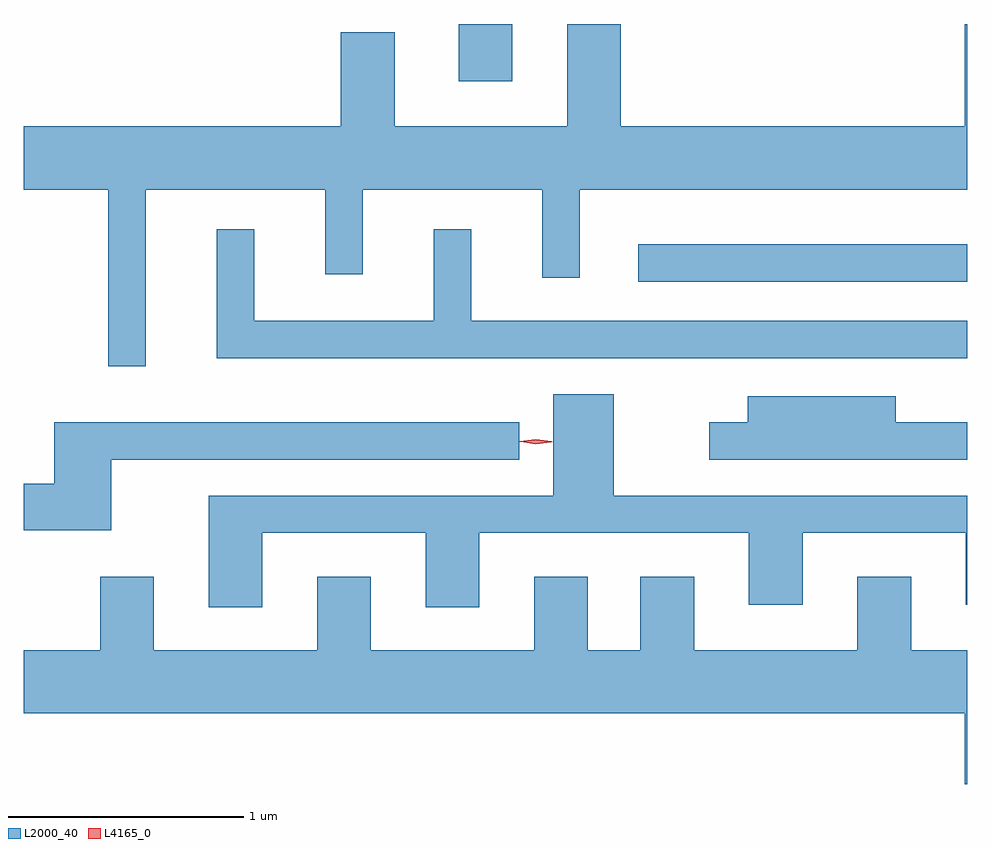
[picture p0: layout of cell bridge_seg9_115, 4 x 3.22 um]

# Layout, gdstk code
import gdstk
lib = gdstk.Library(unit=1e-6, precision=1e-09)
def R(c, l, rs):  # rectangles x0, y0, x1, y1
    for r in rs: c.add(gdstk.rectangle(r[:2], r[2:], *l))
def P(c, l, *ps):  # polygons
    for p in ps: c.add(gdstk.Polygon(p, *l))
L2000_40 = (2000, 40)
L4165_0 = (4165, 0)

bridge_seg9_115 = lib.new_cell('bridge_seg9_115')
R(bridge_seg9_115, L2000_40, [(1712.193,1975.886,1713.587,1976.044), (1711.431,1976.736,1711.659,1976.978)])
P(bridge_seg9_115, L2000_40, [(1710.104,1976.276),(1710.866,1976.276),(1710.866,1975.918),(1711.024,1975.918),(1711.024,1976.276),(1711.786,1976.276),(1711.786,1975.903),(1711.944,1975.903),(1711.944,1976.276),(1713.587,1976.276),(1713.587,1976.978),(1713.576,1976.978),(1713.576,1976.544),(1712.119,1976.544),(1712.119,1976.978),(1711.891,1976.978),(1711.891,1976.544),(1711.159,1976.544),(1711.159,1976.944),(1710.931,1976.944),(1710.931,1976.544),(1709.587,1976.544),(1709.587,1976.276),(1709.946,1976.276),(1709.946,1975.528),(1710.104,1975.528)],
  [(1713.587,1975.719),(1711.484,1975.719),(1711.484,1976.108),(1711.326,1976.108),(1711.326,1975.719),(1710.564,1975.719),(1710.564,1976.108),(1710.406,1976.108),(1710.406,1975.561),(1713.587,1975.561)],
  [(1710.599,1974.821),(1711.291,1974.821),(1711.291,1974.506),(1711.519,1974.506),(1711.519,1974.821),(1712.661,1974.821),(1712.661,1974.516),(1712.889,1974.516),(1712.889,1974.821),(1713.581,1974.821),(1713.581,1974.516),(1713.587,1974.516),(1713.587,1974.979),(1712.089,1974.979),(1712.089,1975.409),(1711.831,1975.409),(1711.831,1974.979),(1710.371,1974.979),(1710.371,1974.506),(1710.599,1974.506)],
  [(1713.587,1975.289),(1713.284,1975.289),(1713.284,1975.399),(1712.656,1975.399),(1712.656,1975.289),(1712.493,1975.289),(1712.493,1975.131),(1713.587,1975.131)],
  [(1709.959,1975.131),(1711.688,1975.131),(1711.688,1975.289),(1709.716,1975.289),(1709.716,1975.029),(1709.587,1975.029),(1709.587,1974.831),(1709.959,1974.831)],
  [(1713.587,1974.324),(1713.349,1974.324),(1713.349,1974.634),(1713.121,1974.634),(1713.121,1974.324),(1712.429,1974.324),(1712.429,1974.634),(1712.201,1974.634),(1712.201,1974.324),(1711.979,1974.324),(1711.979,1974.634),(1711.751,1974.634),(1711.751,1974.324),(1711.059,1974.324),(1711.059,1974.634),(1710.831,1974.634),(1710.831,1974.324),(1710.139,1974.324),(1710.139,1974.634),(1709.911,1974.634),(1709.911,1974.324),(1709.587,1974.324),(1709.587,1974.056),(1713.576,1974.056),(1713.576,1973.756),(1713.587,1973.756)])
P(bridge_seg9_115, L4165_0, [(1711.758,1975.198),(1711.689,1975.208),(1711.689,1975.208),(1711.689,1975.209),(1711.758,1975.218),(1711.826,1975.209),(1711.827,1975.208),(1711.826,1975.208)],
  [(1711.758,1975.196),(1711.693,1975.206),(1711.692,1975.207),(1711.693,1975.207),(1711.758,1975.216),(1711.824,1975.206),(1711.824,1975.205),(1711.824,1975.205)])

lib.write_gds('bridge_seg9_115.gds')
